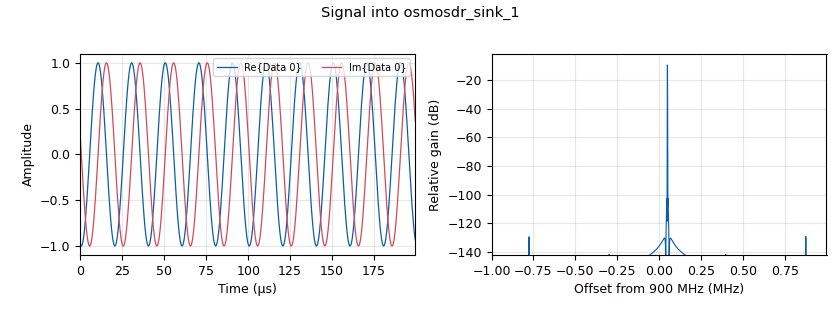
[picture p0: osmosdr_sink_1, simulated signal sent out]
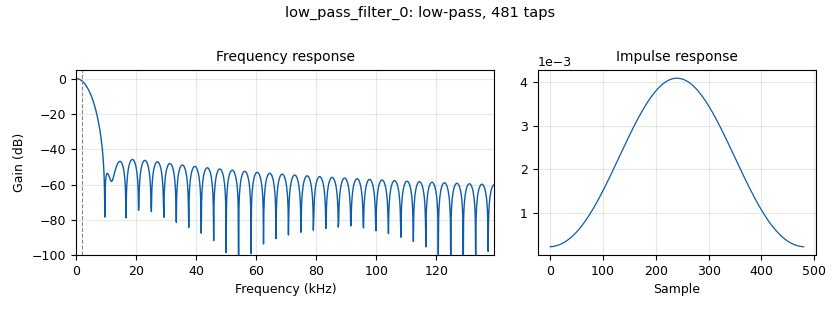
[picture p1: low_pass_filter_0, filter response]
<?xml version='1.0' encoding='utf-8'?>
<?grc format='1' created='3.7.13'?>
<flow_graph>
<block>
<key>options</key>
<param><key>id</key><value>NewTx</value></param>
<param><key>generate_options</key><value>qt_gui</value></param>
</block>
<block>
<key>variable</key>
<param><key>id</key><value>bit_rate</value></param>
<param><key>value</key><value>8</value></param>
</block>
<block>
<key>variable</key>
<param><key>id</key><value>carrier_freq</value></param>
<param><key>value</key><value>900e6</value></param>
</block>
<block>
<key>variable</key>
<param><key>id</key><value>freq_spread</value></param>
<param><key>value</key><value>50e3</value></param>
</block>
<block>
<key>variable</key>
<param><key>id</key><value>low_freq</value></param>
<param><key>value</key><value>50e3</value></param>
</block>
<block>
<key>variable</key>
<param><key>id</key><value>packet_size</value></param>
<param><key>value</key><value>8</value></param>
</block>
<block>
<key>variable</key>
<param><key>id</key><value>repeat</value></param>
<param><key>value</key><value>int(samp_rate/bit_rate)</value></param>
</block>
<block>
<key>variable</key>
<param><key>id</key><value>rf_gain</value></param>
<param><key>value</key><value>60</value></param>
</block>
<block>
<key>variable</key>
<param><key>id</key><value>samp_rate</value></param>
<param><key>value</key><value>2e6</value></param>
</block>
<block>
<key>variable</key>
<param><key>id</key><value>sensitivity</value></param>
<param><key>value</key><value>2*3.14*1e5</value></param>
</block>
<block>
<key>analog_random_source_x</key>
<param><key>id</key><value>analog_random_source_x_0</value></param>
<param><key>max</key><value>2</value></param>
<param><key>min</key><value>0</value></param>
<param><key>num_samps</key><value>1000</value></param>
<param><key>type</key><value>byte</value></param>
<param><key>repeat</key><value>True</value></param>
</block>
<block>
<key>blocks_add_const_vxx</key>
<param><key>id</key><value>blocks_add_const_vxx_0</value></param>
<param><key>const</key><value>2*3.14*low_freq/sensitivity</value></param>
<param><key>type</key><value>float</value></param>
</block>
<block>
<key>blocks_multiply_const_vxx</key>
<param><key>id</key><value>blocks_multiply_const_vxx_0</value></param>
<param><key>const</key><value>2*3.14*freq_spread/sensitivity</value></param>
<param><key>type</key><value>float</value></param>
</block>
<block>
<key>blocks_repeat</key>
<param><key>id</key><value>blocks_repeat_0</value></param>
<param><key>interp</key><value>repeat</value></param>
<param><key>type</key><value>byte</value></param>
</block>
<block>
<key>blocks_uchar_to_float</key>
<param><key>id</key><value>blocks_uchar_to_float_0</value></param>
</block>
<block>
<key>blocks_unpack_k_bits_bb</key>
<param><key>id</key><value>blocks_unpack_k_bits_bb_0</value></param>
<param><key>k</key><value>packet_size</value></param>
</block>
<block>
<key>blocks_vco_c</key>
<param><key>id</key><value>blocks_vco_c_0</value></param>
<param><key>amplitude</key><value>1</value></param>
<param><key>samp_rate</key><value>samp_rate</value></param>
<param><key>sensitivity</key><value>sensitivity</value></param>
</block>
<block>
<key>low_pass_filter</key>
<param><key>id</key><value>low_pass_filter_0</value></param>
<param><key>cutoff_freq</key><value>2e3</value></param>
<param><key>decim</key><value>1</value></param>
<param><key>type</key><value>fir_filter_fff</value></param>
<param><key>gain</key><value>1</value></param>
<param><key>samp_rate</key><value>samp_rate</value></param>
<param><key>width</key><value>10e3</value></param>
<param><key>win</key><value>firdes.WIN_HAMMING</value></param>
</block>
<block>
<key>osmosdr_sink</key>
<param><key>id</key><value>osmosdr_sink_1</value></param>
<param><key>ant0</key><value>TX1</value></param>
<param><key>bb_gain0</key><value>40</value></param>
<param><key>bw0</key><value>300e3</value></param>
<param><key>freq0</key><value>carrier_freq</value></param>
<param><key>if_gain0</key><value>20</value></param>
<param><key>gain0</key><value>rf_gain</value></param>
<param><key>args</key><value></value></param>
<param><key>type</key><value>fc32</value></param>
<param><key>sample_rate</key><value>samp_rate</value></param>
<param><key>sync</key><value></value></param>
</block>
<connection><source_block_id>analog_random_source_x_0</source_block_id><sink_block_id>blocks_unpack_k_bits_bb_0</sink_block_id><source_key>0</source_key><sink_key>0</sink_key></connection>
<connection><source_block_id>blocks_add_const_vxx_0</source_block_id><sink_block_id>blocks_vco_c_0</sink_block_id><source_key>0</source_key><sink_key>0</sink_key></connection>
<connection><source_block_id>blocks_multiply_const_vxx_0</source_block_id><sink_block_id>blocks_add_const_vxx_0</sink_block_id><source_key>0</source_key><sink_key>0</sink_key></connection>
<connection><source_block_id>blocks_repeat_0</source_block_id><sink_block_id>blocks_uchar_to_float_0</sink_block_id><source_key>0</source_key><sink_key>0</sink_key></connection>
<connection><source_block_id>blocks_uchar_to_float_0</source_block_id><sink_block_id>low_pass_filter_0</sink_block_id><source_key>0</source_key><sink_key>0</sink_key></connection>
<connection><source_block_id>blocks_unpack_k_bits_bb_0</source_block_id><sink_block_id>blocks_repeat_0</sink_block_id><source_key>0</source_key><sink_key>0</sink_key></connection>
<connection><source_block_id>blocks_vco_c_0</source_block_id><sink_block_id>osmosdr_sink_1</sink_block_id><source_key>0</source_key><sink_key>0</sink_key></connection>
<connection><source_block_id>low_pass_filter_0</source_block_id><sink_block_id>blocks_multiply_const_vxx_0</sink_block_id><source_key>0</source_key><sink_key>0</sink_key></connection>
</flow_graph>
